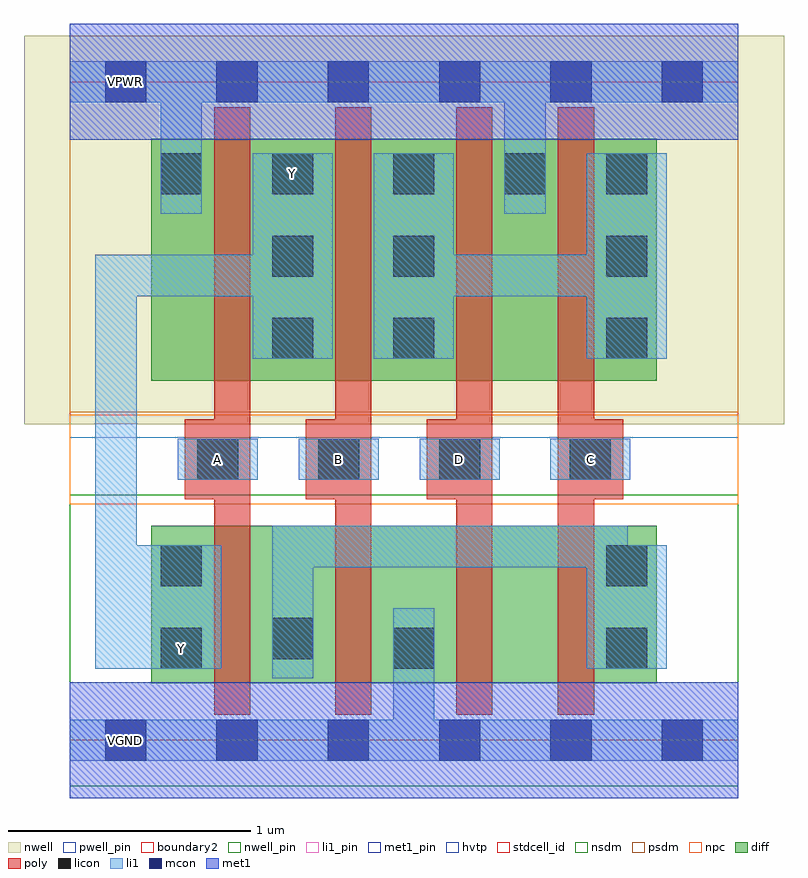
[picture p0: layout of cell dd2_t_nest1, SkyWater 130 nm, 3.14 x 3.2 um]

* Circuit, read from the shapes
.subckt dd2_t_nest1 A B C D VGND VNB VPB VPWR Y
XM1 n1 A Y VNB sky130_fd_pr__nfet_01v8 w=0.65 l=0.15
XM2 VGND B n1 VNB sky130_fd_pr__nfet_01v8 w=0.65 l=0.15
XM3 n2 D VGND VNB sky130_fd_pr__nfet_01v8 w=0.65 l=0.15
XM4 n1 C n2 VNB sky130_fd_pr__nfet_01v8 w=0.65 l=0.15
XM5 Y A VPWR VPB sky130_fd_pr__pfet_01v8_hvt w=1 l=0.15
XM6 n3 B Y VPB sky130_fd_pr__pfet_01v8_hvt w=1 l=0.15
XM7 VPWR D n3 VPB sky130_fd_pr__pfet_01v8_hvt w=1 l=0.15
XM8 n3 C VPWR VPB sky130_fd_pr__pfet_01v8_hvt w=1 l=0.15
.ends

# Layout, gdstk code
import gdstk
lib = gdstk.Library(unit=1e-6, precision=1e-09)
def R(c, l, rs):  # rectangles x0, y0, x1, y1
    for r in rs: c.add(gdstk.rectangle(r[:2], r[2:], *l))
def A(c, l, x, y, w, h, nx, ny, dx, dy):  # array of equal rectangles
    R(c, l, [(x+i*dx, y+j*dy, x+i*dx+w, y+j*dy+h) for i in range(nx) for j in range(ny)])
nwell_pin = (64, 16)
nwell = (64, 20)
diff = (65, 20)
poly = (66, 20)
licon = (66, 44)
li1_pin = (67, 16)
li1 = (67, 20)
mcon = (67, 44)
met1_pin = (68, 16)
met1 = (68, 20)
hvtp = (78, 44)
stdcell_id = (81, 4)
nsdm = (93, 44)
psdm = (94, 20)
npc = (95, 20)
pwell_pin = (122, 16)
boundary2 = (236, 0)

dd2_t_nest1 = lib.new_cell('dd2_t_nest1')
R(dd2_t_nest1, nwell_pin, [(0.145,2.635,0.315,2.805)])
R(dd2_t_nest1, nwell, [(-0.19,1.305,2.95,2.91)])
R(dd2_t_nest1, diff, [(0.335,0.235,0.92,0.885), (0.92,0.235,1.42,0.885), (1.42,0.235,1.88,0.885), (1.88,0.235,2.425,0.885), (0.335,1.485,0.92,2.485), (0.92,1.485,1.42,2.485), (1.42,1.485,1.88,2.485), (1.88,1.485,2.425,2.485)])
A(dd2_t_nest1, poly, 0.595, 0.105, 0.15, 2.51, 3, 1, 0.5, 0)
A(dd2_t_nest1, poly, 0.475, 0.995, 0.27, 0.33, 3, 1, 0.5, 0)
R(dd2_t_nest1, poly, [(2.015,0.105,2.165,2.615), (2.015,0.995,2.285,1.325)])
A(dd2_t_nest1, licon, 0.525, 1.075, 0.17, 0.17, 3, 1, 0.5, 0)
A(dd2_t_nest1, licon, 0.835, 1.575, 0.17, 0.17, 1, 3, 0, 0.34)
A(dd2_t_nest1, licon, 1.335, 1.575, 0.17, 0.17, 1, 3, 0, 0.34)
A(dd2_t_nest1, licon, 2.215, 1.575, 0.17, 0.17, 1, 3, 0, 0.34)
R(dd2_t_nest1, licon, [(0.375,0.295,0.545,0.465), (1.335,0.295,1.505,0.465), (2.215,0.295,2.385,0.465), (0.835,0.335,1.005,0.505), (0.375,0.635,0.545,0.805), (2.215,0.635,2.385,0.805), (2.065,1.075,2.235,1.245), (0.375,2.255,0.545,2.425), (1.795,2.255,1.965,2.425)])
A(dd2_t_nest1, li1_pin, 0.525, 1.075, 0.17, 0.17, 3, 1, 0.5, 0)
R(dd2_t_nest1, li1_pin, [(0.375,0.295,0.545,0.465), (2.065,1.075,2.235,1.245), (0.835,2.255,1.005,2.425)])
A(dd2_t_nest1, li1, 0.445, 1.075, 0.33, 0.17, 3, 1, 0.5, 0)
R(dd2_t_nest1, li1, [(0,-0.085,2.76,0.085), (1.335,-0.085,1.505,0.545), (0.835,0.255,1.005,0.585), (0.105,0.295,0.465,0.465), (0.105,0.295,0.275,2.005), (0.275,0.295,0.295,0.465), (0.275,0.295,0.295,0.465), (0.275,0.295,0.295,0.465), (0.275,0.295,0.295,0.465), (0.275,0.295,0.295,0.805), (0.275,0.295,0.295,0.805), (0.275,0.295,0.295,0.805), (0.275,0.295,0.295,0.805), (0.295,0.295,0.625,0.465), (0.295,0.295,0.625,0.805), (2.135,0.295,2.465,0.465), (2.135,0.295,2.305,0.885), (2.135,0.295,2.465,0.805), (0.835,0.415,1.005,0.885), (0.835,0.585,1.005,0.715), (0.835,0.585,1.005,0.715), (0.835,0.585,1.005,0.715), (0.835,0.585,1.005,0.715), (0.835,0.715,2.305,0.885), (1.985,1.075,2.315,1.245), (0.755,1.575,1.085,2.085), (1.255,1.575,1.585,2.085), (2.135,1.575,2.465,2.085), (0.105,1.835,0.925,2.005), (0.755,1.835,0.925,2.425), (1.415,1.835,1.585,2.425), (1.415,1.835,2.305,2.005), (2.135,1.835,2.305,2.425), (0.755,1.915,1.085,2.425), (1.255,1.915,1.585,2.425), (2.135,1.915,2.465,2.425), (0.375,2.175,0.545,2.805), (1.795,2.175,1.965,2.805), (0.755,2.255,1.085,2.425), (1.255,2.255,1.585,2.425), (2.135,2.255,2.465,2.425), (0,2.635,2.76,2.805)])
A(dd2_t_nest1, mcon, 0.145, -0.085, 0.17, 0.17, 6, 2, 0.46, 2.72)
R(dd2_t_nest1, met1_pin, [(0.145,-0.085,0.315,0.085), (0.145,2.635,0.315,2.805)])
R(dd2_t_nest1, met1, [(0,-0.24,2.76,0.24), (0,2.48,2.76,2.96)])
R(dd2_t_nest1, hvtp, [(0,1.25,2.76,2.72)])
R(dd2_t_nest1, stdcell_id, [(0,0,2.76,2.72)])
R(dd2_t_nest1, nsdm, [(0,-0.19,2.76,1.015)])
R(dd2_t_nest1, psdm, [(0,1.355,2.76,2.91)])
R(dd2_t_nest1, npc, [(0,0.975,2.76,1.345)])
R(dd2_t_nest1, pwell_pin, [(0.145,-0.085,0.315,0.085)])
R(dd2_t_nest1, boundary2, [(0,0,2.76,2.72)])
dd2_t_nest1.add(gdstk.Label('A', (0.61,1.16), layer=67, texttype=5))
dd2_t_nest1.add(gdstk.Label('B', (1.11,1.16), layer=67, texttype=5))
dd2_t_nest1.add(gdstk.Label('C', (2.15,1.16), layer=67, texttype=5))
dd2_t_nest1.add(gdstk.Label('D', (1.61,1.16), layer=67, texttype=5))
dd2_t_nest1.add(gdstk.Label('Y', (0.46,0.38), layer=67, texttype=5))
dd2_t_nest1.add(gdstk.Label('Y', (0.92,2.34), layer=67, texttype=5))
dd2_t_nest1.add(gdstk.Label('VGND', (0.23,0), layer=68, texttype=5))
dd2_t_nest1.add(gdstk.Label('VPWR', (0.23,2.72), layer=68, texttype=5))
dd2_t_nest1.add(gdstk.Label('VPB', (0.23,2.72), layer=64, texttype=5))
dd2_t_nest1.add(gdstk.Label('VNB', (0.23,0), layer=64, texttype=59))

lib.write_gds('dd2_t_nest1.gds')
